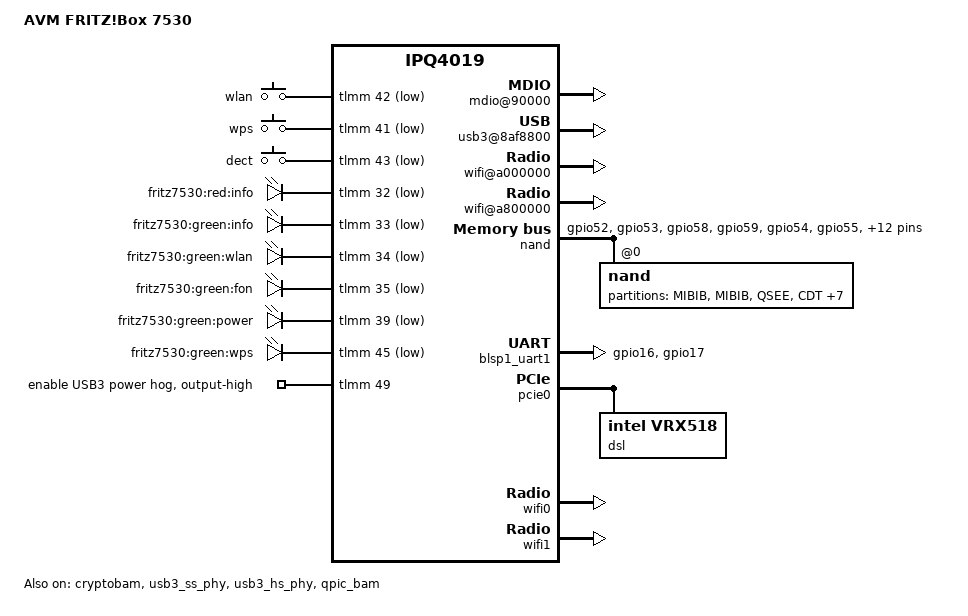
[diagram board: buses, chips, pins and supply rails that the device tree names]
/* Copyright (c) 2015, The Linux Foundation. All rights reserved.
 *
 * Permission to use, copy, modify, and/or distribute this software for any
 * purpose with or without fee is hereby granted, provided that the above
 * copyright notice and this permission notice appear in all copies.
 *
 * THE SOFTWARE IS PROVIDED "AS IS" AND THE AUTHOR DISCLAIMS ALL WARRANTIES
 * WITH REGARD TO THIS SOFTWARE INCLUDING ALL IMPLIED WARRANTIES OF
 * MERCHANTABILITY AND FITNESS. IN NO EVENT SHALL THE AUTHOR BE LIABLE FOR
 * ANY SPECIAL, DIRECT, INDIRECT, OR CONSEQUENTIAL DAMAGES OR ANY DAMAGES
 * WHATSOEVER RESULTING FROM LOSS OF USE, DATA OR PROFITS, WHETHER IN AN
 * ACTION OF CONTRACT, NEGLIGENCE OR OTHER TORTIOUS ACTION, ARISING OUT OF
 * OR IN CONNECTION WITH THE USE OR PERFORMANCE OF THIS SOFTWARE.
 *
 */

#include "qcom-ipq4019.dtsi"
#include <dt-bindings/gpio/gpio.h>
#include <dt-bindings/input/input.h>
#include <dt-bindings/soc/qcom,tcsr.h>

/ {
	model = "AVM FRITZ!Box 7530";
	compatible = "avm,fritzbox-7530", "qcom,ipq4019";

	aliases {
		led-boot = &power;
		led-failsafe = &power;
		led-running = &power;
		led-upgrade = &power;
	};

	soc {
		mdio@90000 {
			status = "okay";
		};

		ess-psgmii@98000 {
			status = "okay";
		};

		tcsr@1949000 {
			compatible = "qcom,tcsr";
			reg = <0x1949000 0x100>;
			qcom,wifi_glb_cfg = <TCSR_WIFI_GLB_CFG>;
		};

		tcsr@194b000 {
			compatible = "qcom,tcsr";
			reg = <0x194b000 0x100>;
			qcom,usb-hsphy-mode-select = <TCSR_USB_HSPHY_HOST_MODE>;
		};

		ess_tcsr@1953000 {
			compatible = "qcom,tcsr";
			reg = <0x1953000 0x1000>;
			qcom,ess-interface-select = <TCSR_ESS_PSGMII>;
		};

		tcsr@1957000 {
			compatible = "qcom,tcsr";
			reg = <0x1957000 0x100>;
			qcom,wifi_noc_memtype_m0_m2 = <TCSR_WIFI_NOC_MEMTYPE_M0_M2>;
		};

		usb3@8af8800 {
			status = "okay";
		};

		crypto@8e3a000 {
			status = "okay";
		};

		wifi@a000000 {
			status = "okay";
			qcom,ath10k-calibration-variant = "AVM-FRITZBox-7530";
		};

		wifi@a800000 {
			status = "okay";
			qcom,ath10k-calibration-variant = "AVM-FRITZBox-7530";
		};

		watchdog@b017000 {
			status = "okay";
		};

		ess-switch@c000000 {
			status = "okay";
		};

		edma@c080000 {
			status = "okay";
			qcom,num_gmac = <1>;
		};
	};

	keys {
		compatible = "gpio-keys";

		wlan {
			label = "wlan";
			gpios = <&tlmm 42 GPIO_ACTIVE_LOW>;
			linux,code = <KEY_RFKILL>;
		};

		wps {
			label = "wps";
			gpios = <&tlmm 41 GPIO_ACTIVE_LOW>;
			linux,code = <KEY_WPS_BUTTON>;
		};

		dect {
			label = "dect";
			gpios = <&tlmm 43 GPIO_ACTIVE_LOW>;
			linux,code = <KEY_PHONE>;
		};
	};

	leds {
		compatible = "gpio-leds";

		info_red {
			label = "fritz7530:red:info";
			gpios = <&tlmm 32 GPIO_ACTIVE_LOW>;
		};

		info {
			label = "fritz7530:green:info";
			gpios = <&tlmm 33 GPIO_ACTIVE_LOW>;
		};

		wlan {
			label = "fritz7530:green:wlan";
			gpios = <&tlmm 34 GPIO_ACTIVE_LOW>;
		};

		fon {
			label = "fritz7530:green:fon";
			gpios = <&tlmm 35 GPIO_ACTIVE_LOW>;
		};

		power: power {
			label = "fritz7530:green:power";
			gpios = <&tlmm 39 GPIO_ACTIVE_LOW>;
		};

		wps {
			label = "fritz7530:green:wps";
			gpios = <&tlmm 45 GPIO_ACTIVE_LOW>;
		};
	};
};

&tlmm {
	serial_0_pins: serial_pinmux {
		mux {
			pins = "gpio16", "gpio17";
			function = "blsp_uart0";
			bias-disable;
		};
	};

	nand_pins: nand_pins {
		pullups {
			pins = "gpio52", "gpio53", "gpio58",
				"gpio59";
			function = "qpic";
			bias-pull-up;
		};

		pulldowns {
			pins = "gpio54", "gpio55", "gpio56",
				"gpio57", "gpio60", "gpio61",
				"gpio62", "gpio63", "gpio64",
				"gpio65", "gpio66", "gpio67",
				"gpio68", "gpio69";
			function = "qpic";
			bias-pull-down;
		};
	};

	usb-power {
		line-name = "enable USB3 power";
		gpios = <49 GPIO_ACTIVE_HIGH>;
		gpio-hog;
		output-high;
	};
};

&nand {
	pinctrl-0 = <&nand_pins>;
	pinctrl-names = "default";
	status = "okay";

	nand@0 {
		partitions {
			compatible = "fixed-partitions";
			#address-cells = <1>;
			#size-cells = <1>;

			partition@0 {
				label = "MIBIB";
				reg = <0x000000 0x80000>;
				read-only;
			};

			partition@80000 {
				label = "MIBIB";
				reg = <0x080000 0x80000>;
				read-only;
			};

			partition@100000 {
				label = "QSEE";
				reg = <0x100000 0x80000>;
				read-only;
			};

			partition@180000 {
				label = "CDT";
				reg = <0x180000 0x40000>;
				read-only;
			};

			partition@1c0000 {
				label = "QSEE_B";
				reg = <0x1c0000 0x80000>;
				read-only;
			};

			partition@240000 {
				label = "urlader0";
				reg = <0x240000 0x40000>;
				read-only;
			};

			partition@280000 {
				label = "urlader1";
				reg = <0x280000 0x40000>;
				read-only;
			};

			partition@2c0000 {
				label = "nand-tffs";
				reg = <0x2c0000 0x840000>;
				read-only;
			};

			partition@b00000 {
				label = "uboot0";
				reg = <0xb00000 0x400000>;
			};

			partition@f00000 {
				label = "uboot1";
				reg = <0xf00000 0x400000>;
			};

			partition@1300000 {
				label = "ubi";
				reg = <0x1300000 0x6d00000>;
			};
		};
	};
};

&cryptobam {
	status = "okay";
};

&blsp_dma {
	status = "okay";
};

&blsp1_uart1 {
	pinctrl-0 = <&serial_0_pins>;
	pinctrl-names = "default";
	status = "okay";
};

&usb3_ss_phy {
	status = "okay";
};

&usb3_hs_phy {
	status = "okay";
};

&qpic_bam {
	status = "okay";
};

&pcie0 {
	status = "okay";

	ranges = <0x81000000 0 0x40200000 0x40200000
			0 0x00100000   /* downstream I/O */
			0x82000000 0 0x48000000 0x48000000
			0 0x10000000>; /* non-prefetchable memory */

	perst-gpio = <&tlmm 38 GPIO_ACTIVE_LOW>;
	wake-gpio = <&tlmm 50 GPIO_ACTIVE_LOW>;

	bridge@0,0 {
		reg = <0x00000000 0 0 0 0>;
		#address-cells = <3>;
		#size-cells = <2>;
		ranges;

		dsl@1,0 {
			compatible = "intel,vrx518";
			status = "okay";
			reg = <0x00010000 0 0 0 0>;
		};
	};
};

&wifi0 {
	status = "okay";
	qcom,ath10k-calibration-variant = "AVM-FRITZBox-7530";
};

&wifi1 {
	status = "okay";
	qcom,ath10k-calibration-variant = "AVM-FRITZBox-7530";
};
